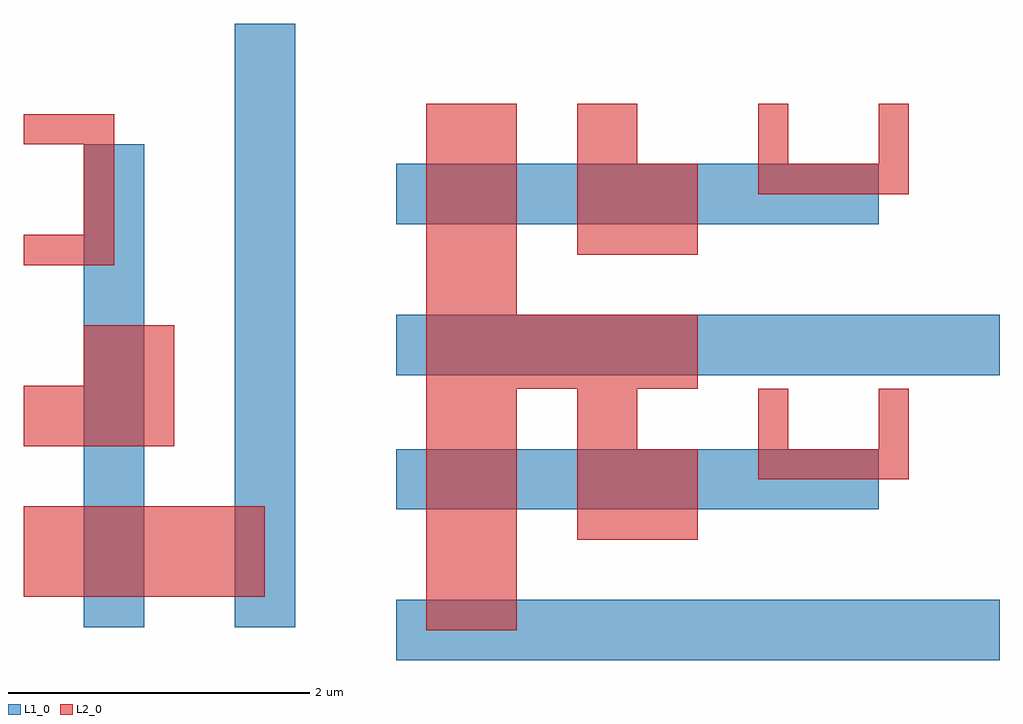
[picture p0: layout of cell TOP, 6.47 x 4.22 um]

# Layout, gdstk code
from math import pi, radians
import gdstk
lib = gdstk.Library(unit=1e-6, precision=1e-09)
def R(c, l, rs):  # rectangles x0, y0, x1, y1
    for r in rs: c.add(gdstk.rectangle(r[:2], r[2:], *l))
def P(c, l, *ps):  # polygons
    for p in ps: c.add(gdstk.Polygon(p, *l))
L1_0 = (1, 0)
L2_0 = (2, 0)

c_c = lib.new_cell('C')
R(c_c, L1_0, [(0,0,4,0.4), (0,1,3.2,1.4)])
R(c_c, L2_0, [(0.2,0.2,0.8,1.8)])
P(c_c, L2_0, [(1.2,0.8),(1.2,1.8),(1.6,1.8),(1.6,1.4),(2,1.4),(2,0.8)],
  [(2.4,1.2),(2.4,1.8),(2.6,1.8),(2.6,1.4),(3.2,1.4),(3.2,1.8),(3.4,1.8),(3.4,1.2)])

top = lib.new_cell('TOP')
R(top, L2_0, [(0.27,1.98,2.07,2.47)])
top.add(gdstk.Reference(c_c, (0.07,0.18)))
top.add(gdstk.Reference(c_c, (-0.6,0.4), rotation=pi/2))
top.add(gdstk.Reference(c_c, (0.07,2.07)))

lib.write_gds('TOP.gds')
